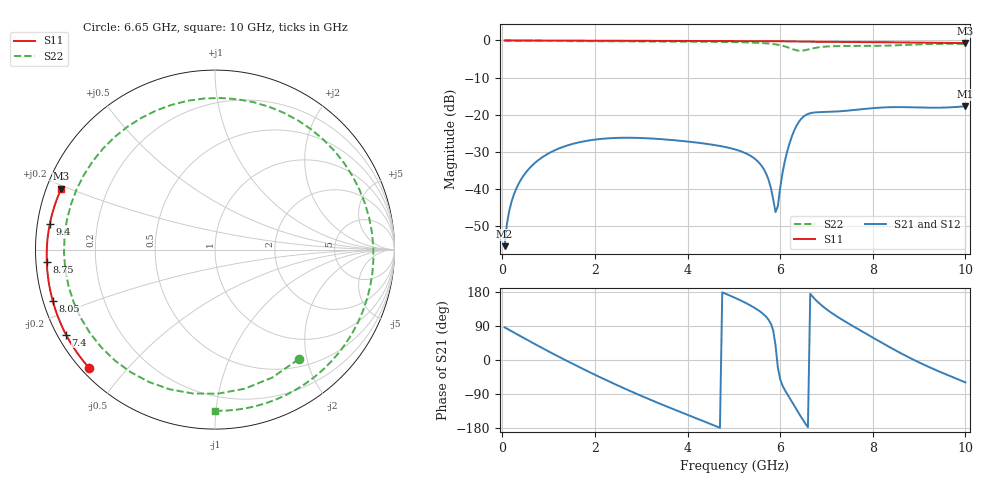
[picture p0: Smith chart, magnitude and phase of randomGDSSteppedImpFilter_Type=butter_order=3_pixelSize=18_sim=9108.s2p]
! freq	dB(S11)	phase(S11)	dB(S12)	phase(S12)
!  dB(S21)	phase(S21)	dB(S22)	phase(S22)
!S-par simulation data
#  GHz  S  DB  R 50
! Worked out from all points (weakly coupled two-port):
!   200 points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, 50 MHz to 10 GHz, reference 50 ohm
!   highest |S21| = -17.68 dB at 10 GHz (marker M1); lowest = -55.3 dB at 50 MHz (marker M2)
!   lowest |S11| = -0.7 dB at 10 GHz (marker M3), VSWR 24.35, Z = 2.13 + j9.51 ohm
!   |S11| at or under -10 dB: nowhere
!   |S22| runs from -2.8 to 0.0 dB; largest |S21 - S12| = 0
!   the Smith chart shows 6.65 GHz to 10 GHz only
!   S11 on the Smith chart (normalised r, x): 6.65 GHz: 0.02, -0.40; 7.4 GHz: 0.02, -0.27; 8.05 GHz: 0.03, -0.16; 8.75 GHz: 0.03, -0.04; 9.4 GHz: 0.04, +0.08; 10 GHz: 0.04, +0.19
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0.05  -0.00 -1.2  -55.33 86.2  -55.33 86.2  -0.01 -5.8
0.3  -0.01 -6.9  -39.91 69.2  -39.91 69.2  -0.05 -34.3
0.85  -0.03 -19.4  -31.53 32.4  -31.53 32.4  -0.13 -95.5
1.35  -0.05 -30.7  -28.47 0.4  -28.47 0.4  -0.18 -148.8
1.75  -0.06 -39.6  -27.16 -24.1  -27.16 -24.1  -0.21 170.3
2.55  -0.08 -56.8  -26.18 -70.3  -26.18 -70.3  -0.25 93.9
3.4  -0.11 -74.5  -26.52 -115.2  -26.52 -115.2  -0.28 22.2
4.1  -0.13 -88.5  -27.32 -149.5  -27.32 -149.5  -0.32 -29.5
5.05  -0.17 -106.8  -29.39 162.7  -29.39 162.7  -0.45 -96.2
5.65  -0.20 -118.1  -34.68 119.8  -34.68 119.8  -0.73 -149.3
5.9  -0.21 -122.8  -46.17 38.8  -46.17 38.8  -1.05 177.1
6.25  -0.25 -129.5  -25.90 -109.2  -25.90 -109.2  -2.24 92.4
6.45  -0.30 -133.2  -21.14 -150.0  -21.14 -150.0  -2.76 15.5
6.65  -0.33 -136.7  -19.57 174.7  -19.57 174.7  -2.29 -52.6
6.7  -0.34 -137.6  -19.44 167.4  -19.44 167.4  -2.15 -65.9
7.05  -0.36 -143.9  -19.21 129.4  -19.21 129.4  -1.59 -132.0
7.4  -0.39 -150.3  -18.94 101.8  -18.94 101.8  -1.50 -178.7
8.05  -0.46 -162.3  -18.16 55.7  -18.16 55.7  -1.48 100.4
8.35  -0.50 -168.0  -17.96 34.9  -17.96 34.9  -1.38 63.2
8.75  -0.54 -175.7  -17.95 8.7  -17.95 8.7  -1.17 17.1
9.4  -0.62 171.3  -18.09 -28.6  -18.09 -28.6  -0.92 -44.2
10  -0.71 158.4  -17.68 -59.0  -17.68 -59.0  -0.93 -89.8
